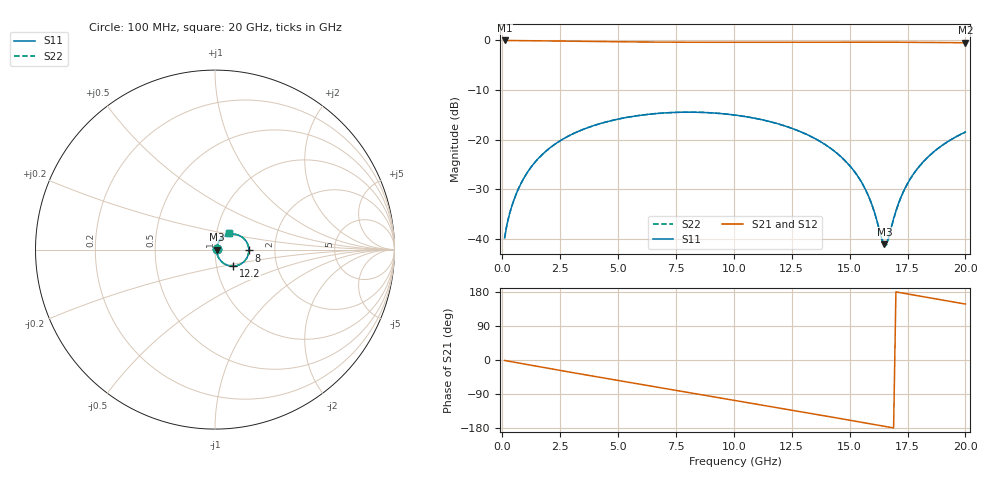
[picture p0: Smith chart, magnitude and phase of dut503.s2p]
! Touchstone file exported from HFSS 2026.1.0
!  File:  C:/ffzhzh/LocalFiles/Ansys_Project_Files/temp_train_TSV_RDL_503_1783107735_37876.aedt
!  Generated:  03:51:46 AM Jul  4, 2026
!  Design:  TSV_RDL
!  Project:  temp_train_TSV_RDL_503_1783107735_37876
! Variables:
!  h_bsmrdl = 5.73um
!  h_ox = 20um
!  h_rdl = 5um
!  h_sub = 72.01um
!  h_tmrdl = 5.55um
!  h_tsv = 72.01um
!  h_via = 3um
!  l_bsmrdl = 627.31um
!  l_sub = 3523.23um
!  l_tmrdl = 271.1um
!  m_sub = 200um
!  pitch = 39.53um
!  r_tsv = 14.3um
!  s_tmrdl = 10um
!  w_bsmrdl = 24.35um
!  w_sub = 500um
!  w_tmrdl = 27.95um
!  x_tsv_center1 = 285.075um
!  x_tsv_center2 = 936.735um
!  x_tsv_center3 = 1235.785um
!  x_tsv_center4 = 1887.445um
!  x_tsv_center5 = 2186.495um
!  x_tsv_center6 = 2838.155um
# GHz S MA R 50.000000
! Terminal data exported
! Port[1] = TM_RDL1_1_T1
! Port[2] = TM_RDL5_1_T1
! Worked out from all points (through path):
!   200 points, 100 MHz to 20 GHz, reference 50 ohm
!   highest |S21| = -0.08 dB at 100 MHz (marker M1); lowest = -0.5 dB at 20 GHz (marker M2)
!   group delay of S21, straight-line fit = 29.3 ps
!   lowest |S11| = -41.0 dB at 16.5 GHz (marker M3), VSWR 1.02, Z = 50.9 - j0.107 ohm
!   |S11| at or under -10 dB: start of sweep to end of sweep
!   |S22| runs from -41.4 to -14.5 dB; largest |S21 - S12| = 3.5e-14
!   S11 on the Smith chart (normalised r, x): 100 MHz: 1.02, +0.01; 8 GHz: 1.46, -0.01; 12.2 GHz: 1.20, -0.23; 20 GHz: 1.15, +0.21
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0.1  0.01027 31.0  0.9913 -1.2  0.9913 -1.2  0.01027 31.0
! Gamma 0 0 0 0
! Port Impedance 50 0 50 0
0.3  0.01749 50.1  0.9894 -3.4  0.9894 -3.4  0.01749 50.1
0.5  0.02466 57.4  0.9884 -5.6  0.9884 -5.6  0.02466 57.4
1.2  0.05124 61.8  0.9854 -13.3  0.9854 -13.3  0.05124 61.8
2.2  0.08741 54.8  0.9794 -24.2  0.9794 -24.2  0.08741 54.8
3.5  0.1268 42.5  0.9704 -38.2  0.9704 -38.2  0.1268 42.5
5.2  0.1641 25.9  0.9603 -56.1  0.9603 -56.1  0.1641 25.9
6.8  0.1839 10.3  0.9537 -72.7  0.9537 -72.7  0.1839 10.2
8  0.1886 -1.4  0.951 -85.2  0.951 -85.2  0.1886 -1.5
10.1  0.1757 -21.9  0.9502 -107.0  0.9502 -107.0  0.1757 -21.9
12.2  0.1373 -42.1  0.9526 -129.0  0.9526 -129.0  0.1373 -42.3
13.4  0.1054 -53.3  0.954 -141.7  0.954 -141.7  0.1054 -53.4
14.6  0.06812 -63.0  0.9547 -154.6  0.9547 -154.6  0.06809 -63.3
15.4  0.04121 -66.3  0.9545 -163.1  0.9545 -163.1  0.04115 -66.8
15.9  0.02426 -62.5  0.9539 -168.5  0.9539 -168.5  0.02414 -63.4
16.5  0.008882 -6.8  0.9529 -175.0  0.9529 -175.0  0.008487 -7.3
16.6  0.009186 15.1  0.9527 -176.0  0.9527 -176.0  0.008796 15.7
16.7  0.01077 32.9  0.9525 -177.1  0.9525 -177.1  0.01043 34.1
17.2  0.02581 62.7  0.9512 177.5  0.9512 177.5  0.02565 63.5
17.8  0.04659 65.6  0.9493 171.1  0.9493 171.1  0.0465 66.1
18.7  0.07757 60.7  0.9458 161.5  0.9458 161.5  0.0775 61.0
20  0.1191 49.6  0.9398 147.6  0.9398 147.6  0.1191 49.8
